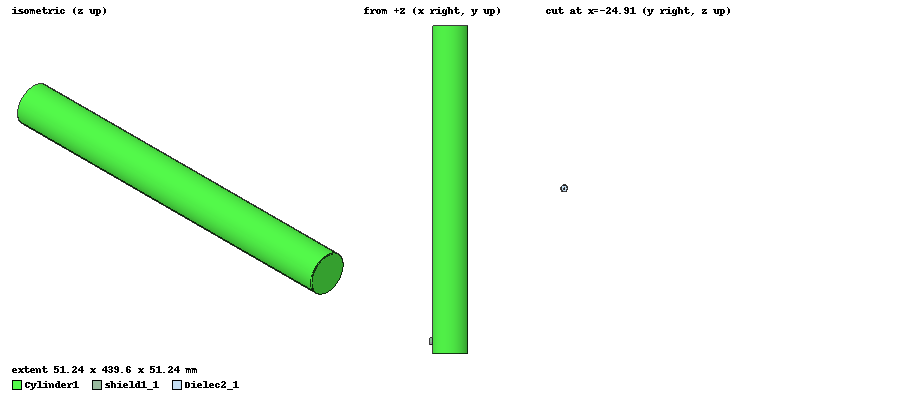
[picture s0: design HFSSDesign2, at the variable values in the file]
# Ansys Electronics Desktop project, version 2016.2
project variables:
  $Pin_length = 10mm
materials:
  vacuum: permittivity=1
  Teflon (tm): permittivity=2.1 dielectric_loss_tangent=0.001
  copper: permeability=0.999991 conductivity=58000000
  pec: conductivity=1e+30

design HFSSDesign2 (HFSS, DrivenModal, model units mm)
options: Calculate_Lossy_Dielectrics
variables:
  Ro = 4.67513mm  # optimise 2.22mm..6.66mm
  t = 0.535611mm  # optimise 0.3mm..0.9mm
  Ri = 1.27189mm  # optimise 0.565mm..1.695mm
  zce = 3.5895875mm  # optimise 1.75mm..5.25mm
  ycer = (0.016770509831248*1000) mm
  Hc = 16.837165mm  # optimise 7.5mm..22.5mm
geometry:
  Cylinder1 [vacuum] = cylinder(axis=Y, base_centre=(0mm, 0mm, 0mm), radius=0.023824072meter, height=(0.02197770609155983*1000*20) mm)
  shield1 [pec] = cylinder(axis=Z, base_centre=(0meter, ycer, -0.023824071643967-zce), radius=Ro, height=5mm)
  Dielec1 = cylinder(axis=Z, base_centre=(0meter, 0meter, -0.023824072meter), radius=Ro-t, height=5mm)
  Cylinder2_2 = Dielec1.copy()
  shield1.subtract(Cylinder2_2)
  Dielec1.delete()
  coordinate_system RelativeCS1 = origin=(30mm, 2.13mm, -6mm) x=(1mm, 0mm, 0mm) y=(0mm, 1mm, 0mm)
  coordinate_system RelativeCS2 = origin=(-30mm, -2.13mm, 6mm) x=(1mm, 0mm, 0mm) y=(0mm, 1mm, 0mm) in RelativeCS1
  Dielec2 [vacuum] = cylinder(axis=Z, base_centre=(0meter, ycer, -0.023824071643967-zce), radius=Ro-t, height=5mm) in RelativeCS2
  core4 = cylinder(axis=Z, base_centre=(0meter, 0meter, -0.023824072meter), radius=Ri, height=6mm) in RelativeCS2
  Cylinder3_3 = core4.copy()
  Dielec2.subtract(Cylinder3_3)
  core4.delete()
  core5 [pec] = cylinder(axis=Z, base_centre=(0meter, ycer, -0.023824071643967-zce), radius=Ri, height=Hc) in RelativeCS2
  core5_1 [pec] = core5.duplicate_around_axis(axis=Y, angle=90deg, total=2) in RelativeCS2
  shield1_1 [pec] = shield1.duplicate_around_axis(axis=Y, angle=90deg, total=2) in RelativeCS2
  Dielec2_1 [vacuum] = Dielec2.duplicate_around_axis(axis=Y, angle=90deg, total=2) in RelativeCS2
  Cylinder1_1 = Cylinder1.copy()
  shield1.subtract(Cylinder1_1)
  Cylinder1_2 = Cylinder1.copy()
  Dielec2_1.subtract(Cylinder1_2)
  Cylinder1_3 = Cylinder1.copy()
  Dielec2.subtract(Cylinder1_3)
  Cylinder1_4 = Cylinder1.copy()
  shield1_1.subtract(Cylinder1_4)
  coordinate_system RelativeCS3 = origin=(30mm, 2.13mm, -6mm) x=(1mm, 0mm, 0mm) y=(0mm, 1mm, 0mm) in RelativeCS2
  coordinate_system RelativeCS4 = origin=(-30mm, -2.13mm, 6mm) x=(1mm, 0mm, 0mm) y=(0mm, 1mm, 0mm) in RelativeCS3
  core5_1_1 = core5_1.copy()
  Cylinder1.subtract(core5_1_1)
  core5_3 = core5.copy()
  Dielec2.subtract(core5_3)
  core5_4 = core5.copy()
  shield1.subtract(core5_4)
  core5_1_2 = core5_1.copy()
  shield1_1.subtract(core5_1_2)
  Dielec2_1_1 = Dielec2_1.copy()
  shield1_1.subtract(Dielec2_1_1)
  core5_1_3 = core5_1.copy()
  Dielec2_1.subtract(core5_1_3)
  core5.move(0mm, 0.04330127meter, 0mm) in RelativeCS2
  [shield1, Dielec2].move(0mm, 43.30127mm, 0mm) in RelativeCS2
  core5_5 = core5.copy()
  Cylinder1.subtract(core5_5)
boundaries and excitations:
  2: Wave Port Faces=Dielec2_1.face(2 of 3) NumModes=1 Modes{Mode1{IntLine{Dielec2_1.edge(at (-27.4137, 16.7705, 1.27189)) at 0.25 along -> Dielec2_1.edge(1 of 2) at -0.25 along} CharImp=Zpi RenormImp=50ohm}}
  3: Wave Port Faces=Cylinder1.face(3 of 3) NumModes=1 Modes{Mode1{IntLine{centre of Cylinder1.face(3 of 3) -> Cylinder1.vertex(2 of 2)} CharImp=Zpi RenormImp=50ohm}}
  4: Wave Port Faces=Dielec2.face(2 of 3) NumModes=1 Modes{Mode1{IntLine{Dielec2.edge(#1020) at 0.25 along -> Dielec2.edge(1 of 2) at -0.25 along} CharImp=Zpi RenormImp=50ohm}}
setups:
  Setup1: HfssDriven Frequency=6GHz MaxDeltaS=0.02 MaximumPasses=6 MinimumPasses=1 MinimumConvergedPasses=1 PercentRefinement=30 BasisOrder=1 PortAccuracy=2
    sweep Sweep: 4GHz to 8GHz, 61 points; Type=Discrete
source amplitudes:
  2:1: 1W 90deg
  3:1, 4:1: 0W 0deg
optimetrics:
  OptimizationSetup1: Optimization Optimizer="Genetic Algorithm" AnalysisStopOptions{StopForNumIteration MaxNumIteration=1000 MinNumIteration=10} CostFuncNormType=L2 GAOptions{NumParents=30 ProportionOfParentSelProb=10 MatingPoolSize=30 NumChildren=30 NumParetoSurvivors=10 PopulationSize=30 RouletteSurvivorSelection ProportionOfSurvivorSelProb=10 CrossoverScheme=3 CrossoverProbability=1 VariableCrossoverProbability=1 VariableExchangeProbability=0 MuCross=1 GammaCross=0.5 NumMatingParents=2 MutationDistribution=2 UniformMutationProbability=0 MutationProbability=1 VariableMutationProbability=1 SigmaMut=0.05 SimplexMirrorProbability=0.1 MuMut=10} Acceptable_Cost=0 Noise=0.0001 UpdateDesignWhenDone
    goal dB(S(2,3)) >= -15 weight 1 on Setup1 : Sweep at Freq 4GHz to 8GHz
    goal dB(S(4,3)) >= -15 weight 1 on Setup1 : Sweep at Freq 4GHz to 8GHz
    goal dB(S(4,4)) <= -15 weight 1 on Setup1 : Sweep at Freq 4GHz to 8GHz
    goal dB(S(3,3)) <= -15 weight 1 on Setup1 : Sweep at Freq 4GHz to 8GHz
    goal dB(S(2,2)) <= -15 weight 1 on Setup1 : Sweep at Freq 4GHz to 8GHz
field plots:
  Mag_E1: E Field over Cylinder1.face(1 of 3) on Setup1 : LastAdaptive at Freq=6GHz Phase=0deg
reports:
  Data Table 1: dB(S(2,1)) vs Freq on Setup1 : LastAdaptive
  XY Plot 1:
  XY Plot 2: dB(S(2,2)) vs Freq on Setup1 : Sweep [Ro=all t=all Ri=all zce=all Hc=all]
  XY Plot 3: dB(S(2,3)) vs Freq on Setup1 : Sweep [Ro=all t=all Ri=all zce=all Hc=all]
  XY Plot 4: dB(S(3,4)) vs Freq on Setup1 : Sweep [Ro=all t=all Ri=all zce=all Hc=all]
  XY Plot 5: dB(S(4,4)) vs Freq on Setup1 : Sweep [Ro=all t=all Ri=all zce=all Hc=all]
